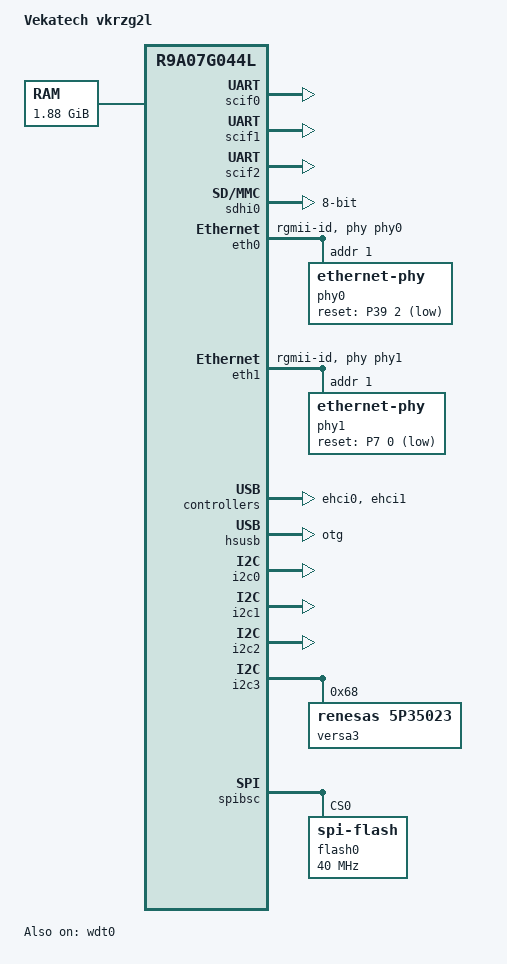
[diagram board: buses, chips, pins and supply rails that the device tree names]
// SPDX-License-Identifier: GPL-2.0
/*
 * Device Tree Source for the VK-RZG2L board
 *
 * Copyright (C) 2017 Jacopo Mondi <jacopo+renesas@jmondi.org>
 * Copyright (C) 2016 Renesas Electronics
 */

/dts-v1/;
#include <dt-bindings/gpio/gpio.h>
#include "r9a07g044l.dtsi"
#include "r9a07g044l-u-boot.dtsi"
#include <dt-bindings/pinctrl/rzg2l-pinctrl.h>

/ {
        model = "Vekatech vkrzg2l";
        compatible = "renesas,r9a07g044l", "renesas,rzg2l";

        aliases {
                serial0 = &scif0;
                serial1 = &scif1;
                serial2 = &scif2;
                spi0 = &spibsc;
                ethernet0 = &eth0;
                ethernet1 = &eth1;
        };

        chosen {
                stdout-path = "serial0:115200n8";
        };

        memory@48000000 {
                device_type = "memory";
                /* first 128MB is reserved for secure area. */
                reg = <0 0x48000000 0 0x78000000>;
                /*reg = <0 0x48000000 0 0x38000000>;*/
        };


        usb0-select {
                label = "usb0-sel";
                gpios = <&P5 2 GPIO_ACTIVE_HIGH>;
        };

};

&pinctrl {
        eth0_pins: eth0 {
                pinmux = <RZG2L_PINMUX(28, 1, 1)>, /* ET0_LINKSTA */
                         <RZG2L_PINMUX(27, 1, 1)>, /* ET0_MDC */
                         <RZG2L_PINMUX(28, 0, 1)>, /* ET0_MDIO */
                         <RZG2L_PINMUX(20, 0, 1)>, /* ET0_TXC */
                         <RZG2L_PINMUX(20, 1, 1)>, /* ET0_TX_CTL */
                         <RZG2L_PINMUX(20, 2, 1)>, /* ET0_TXD0 */
                         <RZG2L_PINMUX(21, 0, 1)>, /* ET0_TXD1 */
                         <RZG2L_PINMUX(21, 1, 1)>, /* ET0_TXD2 */
                         <RZG2L_PINMUX(22, 0, 1)>, /* ET0_TXD3 */
                         <RZG2L_PINMUX(24, 0, 1)>, /* ET0_RXC */
                         <RZG2L_PINMUX(24, 1, 1)>, /* ET0_RX_CTL */
                         <RZG2L_PINMUX(25, 0, 1)>, /* ET0_RXD0 */
                         <RZG2L_PINMUX(25, 1, 1)>, /* ET0_RXD1 */
                         <RZG2L_PINMUX(26, 0, 1)>, /* ET0_RXD2 */
                         <RZG2L_PINMUX(26, 1, 1)>; /* ET0_RXD3 */

        };

        eth1_pins: eth1 {
                pinmux = <RZG2L_PINMUX(37, 2, 1)>, /* ET1_LINKSTA */
                         <RZG2L_PINMUX(37, 0, 1)>, /* ET1_MDC */
                         <RZG2L_PINMUX(37, 1, 1)>, /* ET1_MDIO */
                         <RZG2L_PINMUX(29, 0, 1)>, /* ET1_TXC */
                         <RZG2L_PINMUX(29, 1, 1)>, /* ET1_TX_CTL */
                         <RZG2L_PINMUX(30, 0, 1)>, /* ET1_TXD0 */
                         <RZG2L_PINMUX(30, 1, 1)>, /* ET1_TXD1 */
                         <RZG2L_PINMUX(31, 0, 1)>, /* ET1_TXD2 */
                         <RZG2L_PINMUX(31, 1, 1)>, /* ET1_TXD3 */
                         <RZG2L_PINMUX(33, 1, 1)>, /* ET1_RXC */
                         <RZG2L_PINMUX(34, 0, 1)>, /* ET1_RX_CTL */
                         <RZG2L_PINMUX(34, 1, 1)>, /* ET1_RXD0 */
                         <RZG2L_PINMUX(35, 0, 1)>, /* ET1_RXD1 */
                         <RZG2L_PINMUX(35, 1, 1)>, /* ET1_RXD2 */
                         <RZG2L_PINMUX(36, 0, 1)>; /* ET1_RXD3 */
        };

        i2c2_pins: i2c2 {
                pinmux = <RZG2L_PINMUX(46, 0, 4)>,
                         <RZG2L_PINMUX(46, 1, 4)>;
        }; 

        i2c3_pins: i2c3 {
                pinmux = <RZG2L_PINMUX(18, 0, 3)>,
                         <RZG2L_PINMUX(18, 1, 3)>;
        }; 

        scif1_pins: scif1 {
                pinmux = <RZG2L_PINMUX(40, 0, 1)>,
                         <RZG2L_PINMUX(40, 1, 1)>;
        };

        scif2_pins: scif2 {
                pinmux = <RZG2L_PINMUX(48, 0, 1)>,
                         <RZG2L_PINMUX(48, 1, 1)>;
        };
};

&xinclk {
        clock-frequency = <24000000>;
};

&scif0 {
        status = "okay";
        clock = <100000000>;
};

&scif1 {
        pinctrl-names = "default";
        pinctrl-0 = <&scif1_pins>;

        status = "okay";
};

&scif2 {
        pinctrl-names = "default";
        pinctrl-0 = <&scif2_pins>;

        status = "okay";
};


&sdhi0 {
        /* pinctrl placeholder
         * If this channel is used for interfacing with a SD card, a power enable
         * pin (SD0_PWR_EN) must be defined.
         * The SD0_PWR_EN pin is associated with P19_0.
         * A HIGH signal on SD0_PWR_EN will enable supply voltage for SD card.
        */
        bus-width = <8>;
        status = "okay";
        /* This is used for interface that support both eMMC and SD in board */
        mutual-channel;
};

&eth0 {
        pinctrl-names = "default";
        pinctrl-0 = <&eth0_pins>;
        phy-handle = <&phy0>;
        phy-mode = "rgmii-id";
        status = "okay";

        phy0: ethernet-phy@1 {
                reg = <1>;
                reset-gpios = <&P39 2 GPIO_ACTIVE_LOW>;
        };
};

&eth1 {
        pinctrl-names = "default";
        pinctrl-0 = <&eth1_pins>;
        phy-handle = <&phy1>;
        phy-mode = "rgmii-id";
        status = "okay";

        phy1: ethernet-phy@1 {
                reg = <1>;
                reset-gpios = <&P7 0 GPIO_ACTIVE_LOW>;
        };
};

&ehci0 {
        status = "okay";
}; 

&ehci1 {
        status = "okay";
};

&hsusb {
	dr_mode = "otg";
	status = "okay";
};

&i2c0 {
        pinctrl-names = "default";
        status = "okay";
};

&i2c1 {
        pinctrl-names = "default";
        status = "okay";
};


&i2c2 {
        pinctrl-0 = <&i2c2_pins>;
        pinctrl-names = "default";
        status = "okay";
};

&i2c3 {
        pinctrl-0 = <&i2c3_pins>;
        pinctrl-names = "default";
        status = "okay";

        versa3: versa3@68 {
                compatible = "renesas,5p35023";
                reg = <0x68>;
                #clock-cells = <1>;
                clocks = <&xinclk>;
                clock-names = "x1";
                renesas,settings = [
                 00 00 11 19 00 42 cc 2b 04 32 00 1a 5f 12 90 79
                 02 4c 00 00 00 00 00 00 10 24 19 bf 3f 30 90 86
                 80 b2 05 c4 9c 
                ];
                assigned-clocks = <&versa3 0>,
                                  <&versa3 1>,
                                  <&versa3 2>,
                                  <&versa3 3>,
                                  <&versa3 4>,
                                  <&versa3 5>;
                assigned-clock-rates = <12288000>, <25000000>,
                                       <25000000>, <12288000>,
                                       <11289600>, <24000000>;
        };
};

&spibsc {
        num-cs = <1>;
        status = "okay";
        spi-max-frequency = <40000000>;
        #address-cells = <1>;
        #size-cells = <0>;
        flash0: spi-flash@0 {
                #address-cells = <1>;
                #size-cells = <1>;
                compatible = "spi-flash", "jedec,spi-nor";
                spi-max-frequency = <40000000>;
                spi-tx-bus-width = <1>;
                spi-rx-bus-width = <1>;
                reg = <0>;
                status = "okay";
        };
};

&wdt0 {
        status = "okay";
        timeout-sec = <60>;
};
